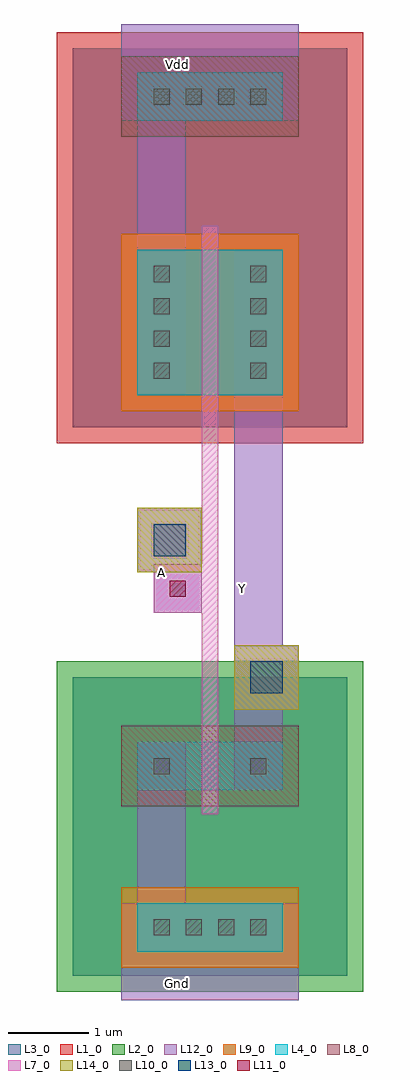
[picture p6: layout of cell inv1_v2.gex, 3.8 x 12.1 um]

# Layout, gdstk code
import gdstk
lib = gdstk.Library(unit=1e-6, precision=1e-09)
def R(c, l, rs):  # rectangles x0, y0, x1, y1
    for r in rs: c.add(gdstk.rectangle(r[:2], r[2:], *l))
def A(c, l, x, y, w, h, nx, ny, dx, dy):  # array of equal rectangles
    R(c, l, [(x+i*dx, y+j*dy, x+i*dx+w, y+j*dy+h) for i in range(nx) for j in range(ny)])
L1_0 = (1, 0)
L2_0 = (2, 0)
L3_0 = (3, 0)
L4_0 = (4, 0)
L7_0 = (7, 0)
L8_0 = (8, 0)
L9_0 = (9, 0)
L10_0 = (10, 0)
L11_0 = (11, 0)
L12_0 = (12, 0)
L13_0 = (13, 0)
L14_0 = (14, 0)

inv1_v2_gex = lib.new_cell('inv1_v2.gex')
R(inv1_v2_gex, L1_0, [(-0.8,6.9,3,12)])
R(inv1_v2_gex, L2_0, [(-0.8,0.1,3,4.2)])
R(inv1_v2_gex, L3_0, [(-0.6,0.3,2.8,4), (-0.6,7.1,2.8,11.8)])
R(inv1_v2_gex, L4_0, [(0.2,0.6,2,1.2), (0.2,2.6,2,3.2), (0.2,7.5,2,9.3), (0.2,10.9,2,11.5)])
R(inv1_v2_gex, L7_0, [(1,2.3,1.2,9.6), (0.4,4.8,1,5.4)])
R(inv1_v2_gex, L8_0, [(0,2.4,2.2,3.4), (0,10.7,2.2,11.7)])
R(inv1_v2_gex, L9_0, [(0,0.4,2.2,1.4), (0,7.3,2.2,9.5)])
A(inv1_v2_gex, L10_0, 0.4, 0.8, 0.2, 0.2, 4, 2, 0.4, 10.3)
A(inv1_v2_gex, L10_0, 0.4, 7.7, 0.2, 0.2, 1, 4, 0, 0.4)
A(inv1_v2_gex, L10_0, 1.6, 7.7, 0.2, 0.2, 1, 4, 0, 0.4)
R(inv1_v2_gex, L10_0, [(0.4,2.8,0.6,3), (1.6,2.8,1.8,3)])
R(inv1_v2_gex, L11_0, [(0.6,5,0.8,5.2)])
R(inv1_v2_gex, L12_0, [(0,0,2.2,1.2), (0.2,1.2,0.8,3.2), (1.4,2.6,2,9.3), (1.4,3.6,2.2,4.4), (0.4,4.8,1,5.4), (0.2,5.3,1,6.1), (0.2,7.5,0.8,10.9), (0,10.9,2.2,12.1)])
R(inv1_v2_gex, L13_0, [(1.6,3.8,2,4.2), (0.4,5.5,0.8,5.9)])
R(inv1_v2_gex, L14_0, [(1.4,3.6,2.2,4.4), (0.2,5.3,1,6.1)])
inv1_v2_gex.add(gdstk.Label('Vdd', (0.7,11.6), layer=12, texttype=0))
inv1_v2_gex.add(gdstk.Label('A', (0.5,5.3), layer=12, texttype=0))
inv1_v2_gex.add(gdstk.Label('Y', (1.5,5.1), layer=12, texttype=0))
inv1_v2_gex.add(gdstk.Label('Gnd', (0.7,0.2), layer=12, texttype=0))

lib.write_gds('inv1_v2.gex.gds')
